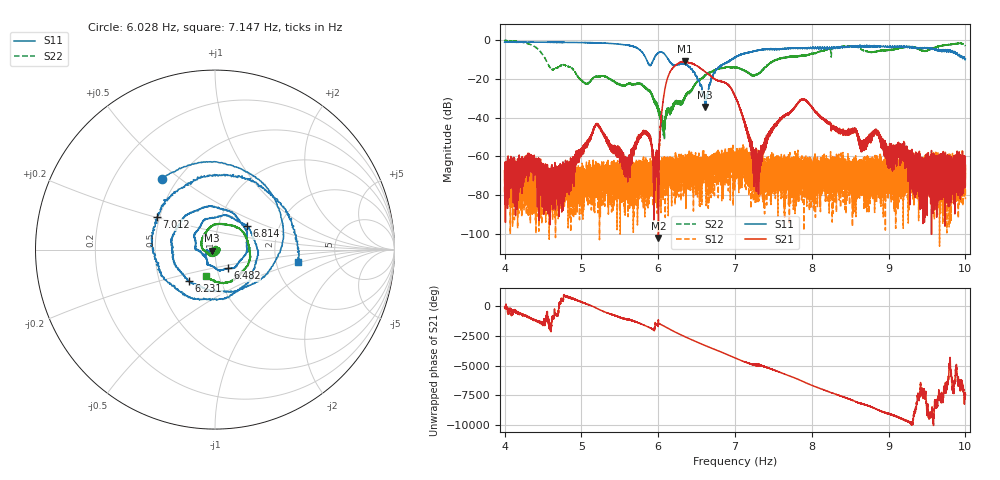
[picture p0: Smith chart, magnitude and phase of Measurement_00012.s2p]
!Created with skrf (http://scikit-rf.org).
# Hz S RI R 50.0
!freq ReS11 ImS11 ReS21 ImS21 ReS12 ImS12 ReS22 ImS22
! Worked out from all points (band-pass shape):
!   14001 points, 4 Hz to 10 Hz, reference 50 ohm
!   highest |S21| = -10.94 dB at 6.345 Hz (marker M1); lowest = -102.3 dB at 6.003 Hz (marker M2)
!   |S21| within 3 dB of the highest: 6.199 Hz to 6.528 Hz (328.6 mHz wide, 5.16 % of centre); 6.528191 Hz to 6.529594 Hz (1.403 mHz wide, 0.0215 % of centre) (the widest 2 of 3)
!   lowest |S11| = -34.5 dB at 6.61 Hz (marker M3), VSWR 1.04, Z = 48.2 - j0.579 ohm
!   |S11| at or under -10 dB: 5.847 Hz to 5.94 Hz (92.51 mHz wide, 1.57 % of centre); 6.133 Hz to 6.957 Hz (823.6 mHz wide, 12.6 % of centre); 9.99489 Hz to 9.996542 Hz (1.652 mHz wide, 0.0165 % of centre) (the widest 3 of 9)
!   |S22| runs from -51.5 to -0.2 dB; largest |S21 - S12| = 0.28
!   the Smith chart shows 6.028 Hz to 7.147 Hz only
!   S11 on the Smith chart (normalised r, x): 6.028 Hz: 0.41, +0.43; 6.231 Hz: 0.71, -0.26; 6.482 Hz: 1.12, -0.24; 6.814 Hz: 1.37, +0.38; 7.012 Hz: 0.48, +0.20; 7.147 Hz: 2.65, -0.46
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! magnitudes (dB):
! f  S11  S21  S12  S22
! 4 Hz  -1.1  -72.1  -75.8  -0.2
! 4.609 Hz  -1.1  -70.9  -69.8  -14.9
! 5 Hz  -1.2  -59.9  -75.0  -20.8
! 5.203 Hz  -1.4  -43.4  -66.4  -18.9
! 5.588 Hz  -2.5  -70.2  -70.1  -23.2
! 5.818 Hz  -7.8  -47.9  -76.6  -23.9
! 6 Hz  -6.6  -73.2  -71.1  -35.6
! 6.003 Hz  -6.5  -102.3  -69.4  -38.2
! 6.028 Hz  -6.1  -45.6  -66.9  -40.5
! 6.103 Hz  -8.2  -22.4  -65.2  -38.8
! 6.231 Hz  -12.8  -12.9  -81.3  -33.0
! 6.345 Hz  -12.3  -10.9  -67.5  -30.2
! 6.482 Hz  -18.0  -12.9  -65.3  -22.6
! 6.61 Hz  -34.5  -16.3  -63.3  -18.1
! 6.814 Hz  -13.1  -21.4  -75.7  -14.6
! 7 Hz  -8.9  -29.2  -57.0  -14.0
! 7.012 Hz  -8.6  -30.2  -60.2  -14.2
! 7.147 Hz  -6.6  -45.0  -61.0  -16.3
! 7.294 Hz  -5.3  -64.7  -69.2  -17.6
! 8 Hz  -4.1  -34.3  -69.3  -6.9
! 9 Hz  -3.4  -62.3  -69.4  -5.0
! 10 Hz  -9.8  -64.6  -82.3  -3.1
